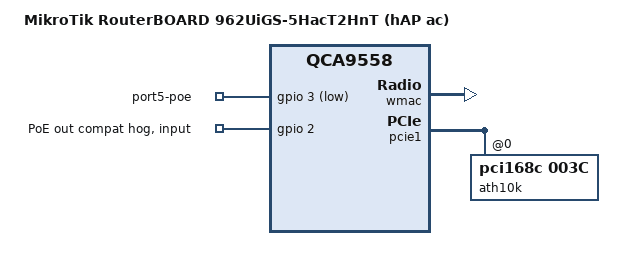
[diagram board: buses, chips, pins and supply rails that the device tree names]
// SPDX-License-Identifier: GPL-2.0-or-later OR MIT

#include "qca9558_mikrotik_routerboard-96x.dtsi"
#include "dt-bindings/leds/common.h"

/ {
	compatible = "mikrotik,routerboard-962uigs-5hact2hnt", "qca,qca9558";
	model = "MikroTik RouterBOARD 962UiGS-5HacT2HnT (hAP ac)";

	gpio-export {
		compatible = "gpio-export";

		port5_poe {
			gpio-export,name = "port5-poe";
			gpio-export,output = <1>;
			gpios = <&gpio 3 GPIO_ACTIVE_LOW>;
		};
	};
};

&gpio {
	input-poe-out-compat {
		gpio-hog;
		gpios = <2 GPIO_ACTIVE_HIGH>;
		input;
		line-name = "PoE out compat";
	};
};

&wmac {
	status = "okay";

	qca,no-eeprom;
	nvmem-cells = <&macaddr_base 7>;
	nvmem-cell-names = "mac-address";
};

&pcie1 {
	status = "okay";

	ath10k: wifi@0,0 {
		/* qca988x */
		compatible = "pci168c,003c";
		reg = <0x0000 0 0 0 0>;

		gpio-controller;
		#gpio-cells = <2>;

		/* ath10k only has support for LED on a specific pin */
		/* (pin1 for this device), only that LED can be controlled. */
		/*
		leds {
			#address=cells = <1>;
			#size-cells = <0>;

			led@0 {
				reg = <0>;
				color = <LED_COLOR_ID_BLUE>;
				function = <LED_FUNCTION_POWER>;
				linux,default-trigger = "default-on";
			};

			led@1 {
				reg = <1>;
				color = <LED_COLOR_ID_GREEN>;
				function = <LED_FUNCTION_WLAN_2GHZ>;
				linux,default-trigger = "phy1tpt";
			};

			led@2 {
				reg = <2>;
				color = <LED_COLOR_ID_RED>;
				function = <LED_FUNCTION_WLAN_5GHZ>;
				linux,default-trigger = "phy0tpt";
			};
		};
		*/
	};
};
